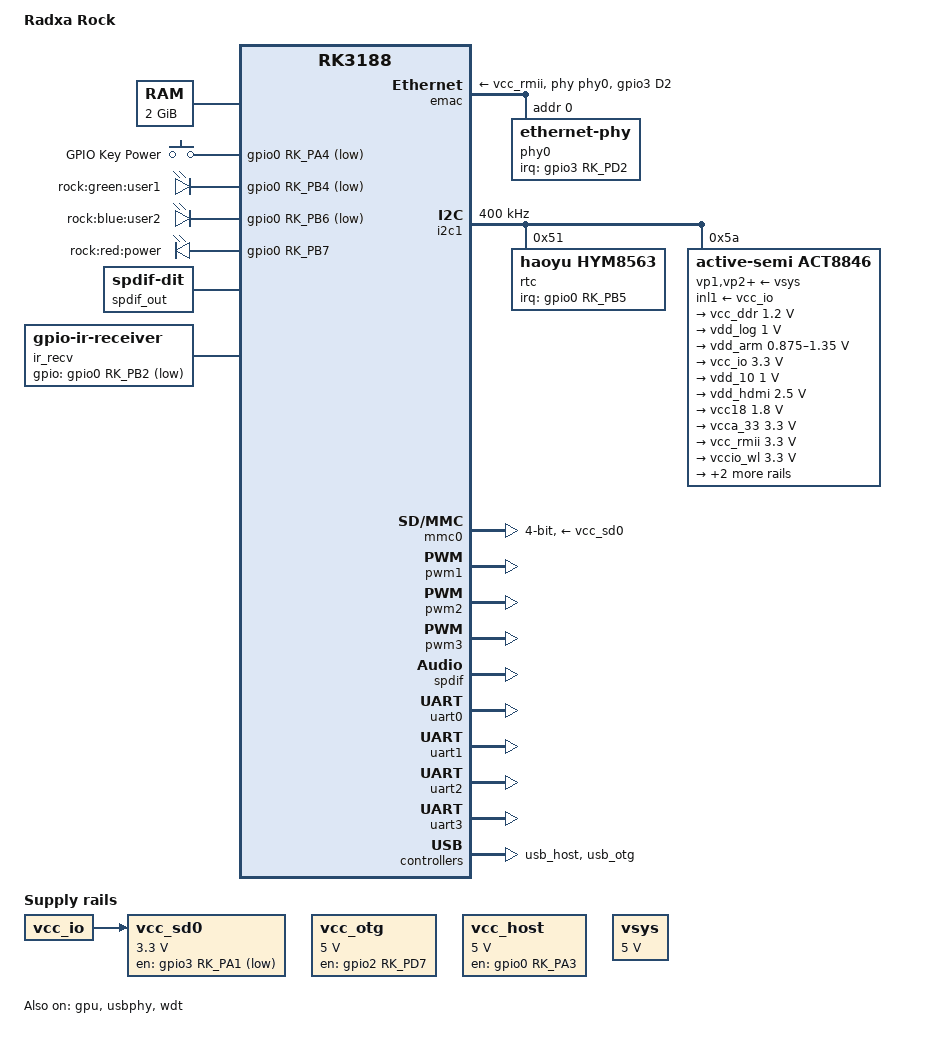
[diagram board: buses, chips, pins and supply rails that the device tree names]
// SPDX-License-Identifier: (GPL-2.0+ OR MIT)
/*
 * Copyright (c) 2013 Heiko Stuebner <heiko@sntech.de>
 */

/dts-v1/;
#include <dt-bindings/input/input.h>
#include "rk3188.dtsi"

/ {
	model = "Radxa Rock";
	compatible = "radxa,rock", "rockchip,rk3188";

	aliases {
		mmc0 = &mmc0;
	};

	memory@60000000 {
		device_type = "memory";
		reg = <0x60000000 0x80000000>;
	};

	gpio-keys {
		compatible = "gpio-keys";
		autorepeat;

		key-power {
			gpios = <&gpio0 RK_PA4 GPIO_ACTIVE_LOW>;
			linux,code = <KEY_POWER>;
			label = "GPIO Key Power";
			linux,input-type = <1>;
			wakeup-source;
			debounce-interval = <100>;
		};
	};

	gpio-leds {
		compatible = "gpio-leds";

		green_led: led-0 {
			label = "rock:green:user1";
			gpios = <&gpio0 RK_PB4 GPIO_ACTIVE_LOW>;
			default-state = "off";
		};

		blue_led: led-1 {
			label = "rock:blue:user2";
			gpios = <&gpio0 RK_PB6 GPIO_ACTIVE_LOW>;
			default-state = "off";
		};

		sleep_led: led-2 {
			label = "rock:red:power";
			gpios = <&gpio0 RK_PB7 GPIO_ACTIVE_HIGH>;
			default-state = "off";
		};
	};

	sound {
		compatible = "simple-audio-card";
		simple-audio-card,name = "SPDIF";

		simple-audio-card,dai-link@1 {  /* S/PDIF - S/PDIF */
			cpu { sound-dai = <&spdif>; };
			codec { sound-dai = <&spdif_out>; };
		};
	};

	spdif_out: spdif-out {
		compatible = "linux,spdif-dit";
		#sound-dai-cells = <0>;
	};

	ir_recv: gpio-ir-receiver {
		compatible = "gpio-ir-receiver";
		gpios = <&gpio0 RK_PB2 GPIO_ACTIVE_LOW>;
		pinctrl-names = "default";
		pinctrl-0 = <&ir_recv_pin>;
	};

	vcc_otg: usb-otg-regulator {
		compatible = "regulator-fixed";
		enable-active-high;
		gpio = <&gpio2 RK_PD7 GPIO_ACTIVE_HIGH>;
		pinctrl-names = "default";
		pinctrl-0 = <&otg_vbus_drv>;
		regulator-name = "otg-vbus";
		regulator-min-microvolt = <5000000>;
		regulator-max-microvolt = <5000000>;
		regulator-always-on;
		regulator-boot-on;
	};

	vcc_sd0: sdmmc-regulator {
		compatible = "regulator-fixed";
		regulator-name = "sdmmc-supply";
		regulator-min-microvolt = <3300000>;
		regulator-max-microvolt = <3300000>;
		gpio = <&gpio3 RK_PA1 GPIO_ACTIVE_LOW>;
		pinctrl-names = "default";
		pinctrl-0 = <&sdmmc_pwr>;
		startup-delay-us = <100000>;
		vin-supply = <&vcc_io>;
	};

	vcc_host: usb-host-regulator {
		compatible = "regulator-fixed";
		enable-active-high;
		gpio = <&gpio0 RK_PA3 GPIO_ACTIVE_HIGH>;
		pinctrl-names = "default";
		pinctrl-0 = <&host_vbus_drv>;
		regulator-name = "host-pwr";
		regulator-min-microvolt = <5000000>;
		regulator-max-microvolt = <5000000>;
		regulator-always-on;
		regulator-boot-on;
	};

	vsys: vsys-regulator {
		compatible = "regulator-fixed";
		regulator-name = "vsys";
		regulator-min-microvolt = <5000000>;
		regulator-max-microvolt = <5000000>;
		regulator-boot-on;
	};
};

&emac {
	status = "okay";

	pinctrl-names = "default";
	pinctrl-0 = <&emac_xfer>, <&emac_mdio>, <&phy_int>;

	phy = <&phy0>;
	phy-supply = <&vcc_rmii>;

	phy0: ethernet-phy@0 {
		reg = <0>;
		interrupt-parent = <&gpio3>;
		interrupts = <RK_PD2 IRQ_TYPE_LEVEL_LOW>;
	};
};

&cpu0 {
	cpu-supply = <&vdd_arm>;
};

&cpu1 {
	cpu-supply = <&vdd_arm>;
};

&cpu2 {
	cpu-supply = <&vdd_arm>;
};

&cpu3 {
	cpu-supply = <&vdd_arm>;
};

&gpu {
	status = "okay";
};

&i2c1 {
	status = "okay";
	clock-frequency = <400000>;

	rtc@51 {
		compatible = "haoyu,hym8563";
		reg = <0x51>;
		interrupt-parent = <&gpio0>;
		interrupts = <RK_PB5 IRQ_TYPE_EDGE_FALLING>;
		pinctrl-names = "default";
		pinctrl-0 = <&rtc_int>;
		#clock-cells = <0>;
		clock-output-names = "xin32k";
	};

	act8846: act8846@5a {
		compatible = "active-semi,act8846";
		reg = <0x5a>;
		status = "okay";
		system-power-controller;

		pinctrl-names = "default";
		pinctrl-0 = <&act8846_dvs0_ctl>;

		vp1-supply = <&vsys>;
		vp2-supply = <&vsys>;
		vp3-supply = <&vsys>;
		vp4-supply = <&vsys>;
		inl1-supply = <&vcc_io>;
		inl2-supply = <&vsys>;
		inl3-supply = <&vsys>;

		regulators {
			vcc_ddr: REG1 {
				regulator-name = "VCC_DDR";
				regulator-min-microvolt = <1200000>;
				regulator-max-microvolt = <1200000>;
				regulator-always-on;
			};

			vdd_log: REG2 {
				regulator-name = "VDD_LOG";
				regulator-min-microvolt = <1000000>;
				regulator-max-microvolt = <1000000>;
				regulator-always-on;
			};

			vdd_arm: REG3 {
				regulator-name = "VDD_ARM";
				regulator-min-microvolt = <875000>;
				regulator-max-microvolt = <1350000>;
				regulator-always-on;
			};

			vcc_io: REG4 {
				regulator-name = "VCC_IO";
				regulator-min-microvolt = <3300000>;
				regulator-max-microvolt = <3300000>;
				regulator-always-on;
			};

			vdd_10: REG5 {
				regulator-name = "VDD_10";
				regulator-min-microvolt = <1000000>;
				regulator-max-microvolt = <1000000>;
				regulator-always-on;
			};

			vdd_hdmi: REG6 {
				regulator-name = "VDD_HDMI";
				regulator-min-microvolt = <2500000>;
				regulator-max-microvolt = <2500000>;
				regulator-always-on;
			};

			vcc18: REG7 {
				regulator-name = "VCC_18";
				regulator-min-microvolt = <1800000>;
				regulator-max-microvolt = <1800000>;
				regulator-always-on;
			};

			vcca_33: REG8 {
				regulator-name = "VCCA_33";
				regulator-min-microvolt = <3300000>;
				regulator-max-microvolt = <3300000>;
				regulator-always-on;
			};

			vcc_rmii: REG9 {
				regulator-name = "VCC_RMII";
				regulator-min-microvolt = <3300000>;
				regulator-max-microvolt = <3300000>;
			};

			vccio_wl: REG10 {
				regulator-name = "VCCIO_WL";
				regulator-min-microvolt = <3300000>;
				regulator-max-microvolt = <3300000>;
				regulator-always-on;
			};

			vcc_18: REG11 {
				regulator-name = "VCC18_IO";
				regulator-min-microvolt = <1800000>;
				regulator-max-microvolt = <1800000>;
				regulator-always-on;
			};

			vcc28: REG12 {
				regulator-name = "VCC_28";
				regulator-min-microvolt = <2800000>;
				regulator-max-microvolt = <2800000>;
				regulator-always-on;
			};
		};
	};
};

&mmc0 {
	status = "okay";
	pinctrl-names = "default";
	pinctrl-0 = <&sd0_clk>, <&sd0_cmd>, <&sd0_cd>, <&sd0_bus4>;
	vmmc-supply = <&vcc_sd0>;

	bus-width = <4>;
	cap-mmc-highspeed;
	cap-sd-highspeed;
	disable-wp;
};

&pwm1 {
	status = "okay";
};

&pwm2 {
	status = "okay";
};

&pwm3 {
	status = "okay";
};

&pinctrl {
	pcfg_output_low: pcfg-output-low {
		output-low;
	};

	act8846 {
		act8846_dvs0_ctl: act8846-dvs0-ctl {
			rockchip,pins = <3 RK_PD3 RK_FUNC_GPIO &pcfg_output_low>;
		};
	};

	hym8563 {
		rtc_int: rtc-int {
			rockchip,pins = <0 RK_PA0 RK_FUNC_GPIO &pcfg_pull_up>;
		};
	};

	lan8720a  {
		phy_int: phy-int {
			rockchip,pins = <3 RK_PD2 RK_FUNC_GPIO &pcfg_pull_up>;
		};
	};

	ir-receiver {
		ir_recv_pin: ir-recv-pin {
			rockchip,pins = <0 RK_PB2 RK_FUNC_GPIO &pcfg_pull_none>;
		};
	};

	sd0 {
		sdmmc_pwr: sdmmc-pwr {
			rockchip,pins = <3 RK_PA1 RK_FUNC_GPIO &pcfg_pull_none>;
		};
	};

	usb {
		host_vbus_drv: host-vbus-drv {
			rockchip,pins = <0 RK_PA3 RK_FUNC_GPIO &pcfg_pull_none>;
		};
		otg_vbus_drv: otg-vbus-drv {
			rockchip,pins = <2 RK_PD7 RK_FUNC_GPIO &pcfg_pull_none>;
		};
	};
};

&spdif {
	status = "okay";
};

&uart0 {
	status = "okay";
};

&uart1 {
	status = "okay";
};

&uart2 {
	status = "okay";
};

&uart3 {
	status = "okay";
};

&usbphy {
	status = "okay";
};

&usb_host {
	status = "okay";
};

&usb_otg {
	status = "okay";
};

&wdt {
	status = "okay";
};
